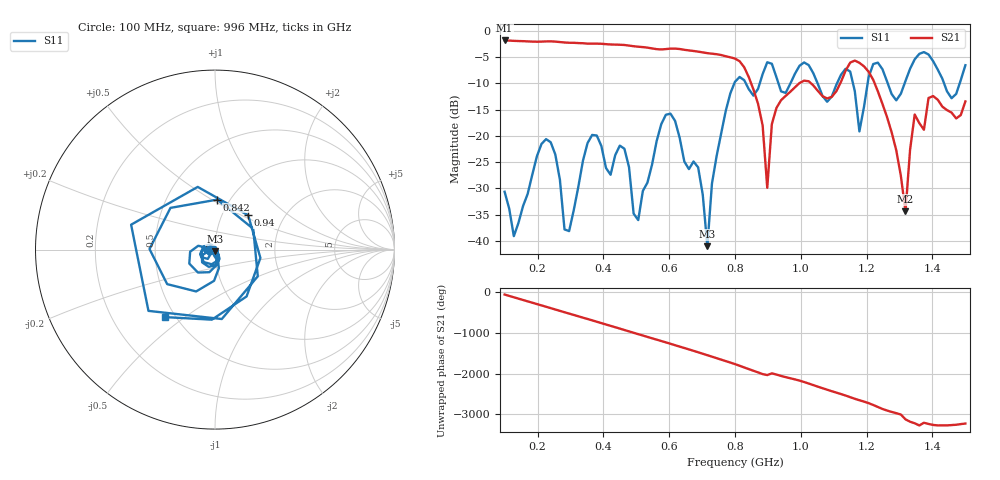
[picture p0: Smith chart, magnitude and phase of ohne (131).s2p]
! NanoVNA-App
! Date: 2025-09-25 14:21:49
! Start: 100MHz Stop: 1,5GHz Points: 101
! S-Parameter data: F S11 S21 S12 S22
# Hz S RI R 50
!  Frequency  S11_Real  S11_Imag  S21_Real  S21_Imag  S12_Real  S12_Imag  S22_Real  S22_Imag
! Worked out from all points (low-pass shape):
!   101 points, 100 MHz to 1.5 GHz, reference 50 ohm
!   highest |S21| = -1.79 dB at 100 MHz (marker M1); lowest = -34.4 dB at 1.318 GHz (marker M2)
!   |S21| within 3 dB of the highest: start of sweep to 771.2 MHz
!   lowest |S11| = -41.0 dB at 716 MHz (marker M3), VSWR 1.02, Z = 49.9 - j0.876 ohm
!   |S11| at or under -10 dB: start of sweep to 797.9 MHz; 833.1 MHz to 875.1 MHz (41.98 MHz wide, 4.92 % of centre); 1.051 GHz to 1.11 GHz (58.66 MHz wide, 5.43 % of centre) (the widest 3 of 7)
!   S12 and S22 are empty: the file has one direction only
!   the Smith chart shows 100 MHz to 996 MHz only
!   S11 on the Smith chart (normalised r, x): 100 MHz: 0.94, -0.01; 842 MHz: 0.88, +0.53; 940 MHz: 1.33, +0.55; 996 MHz: 0.44, -0.42
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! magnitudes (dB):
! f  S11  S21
! 100 MHz  -30.6  -1.8
! 128 MHz  -39.1  -1.9
! 226 MHz  -20.6  -2.0
! 296 MHz  -38.1  -2.2
! 338 MHz  -24.7  -2.3
! 464 MHz  -22.4  -2.7
! 506 MHz  -36.0  -3.0
! 576 MHz  -17.7  -3.5
! 688 MHz  -26.0  -3.9
! 716 MHz  -41.0  -4.2
! 800 MHz  -9.7  -5.2
! 842 MHz  -11.1  -8.8
! 898 MHz  -6.0  -29.9
! 940 MHz  -11.5  -13.2
! 996 MHz  -6.6  -9.9
! 1.038 GHz  -8.0  -10.4
! 1.178 GHz  -19.1  -6.1
! 1.22 GHz  -6.3  -9.3
! 1.276 GHz  -12.0  -19.3
! 1.318 GHz  -9.5  -34.4
! 1.346 GHz  -5.4  -15.9
! 1.5 GHz  -6.5  -13.4
